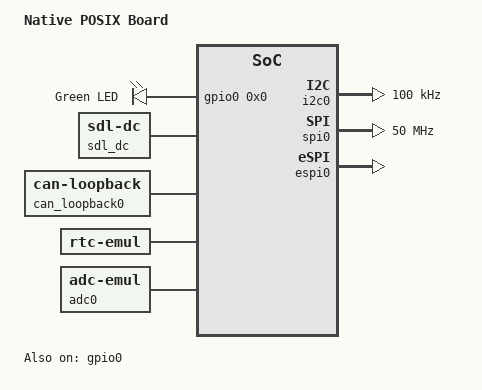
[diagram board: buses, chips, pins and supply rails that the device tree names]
/dts-v1/;

/ {
	#address-cells = < 0x1 >;
	#size-cells = < 0x1 >;
	model = "Native POSIX Board";
	compatible = "zephyr,posix";
	chosen {
		zephyr,console = &uart0;
		zephyr,shell-uart = &uart0;
		zephyr,uart-mcumgr = &uart0;
		zephyr,flash = &flash0;
		zephyr,entropy = &rng;
		zephyr,flash-controller = &flashcontroller0;
		zephyr,display = &sdl_dc;
		zephyr,canbus = &can_loopback0;
		zephyr,keyboard-scan = &kscan_input;
	};
	aliases {
		eeprom-0 = &eeprom0;
		i2c-0 = &i2c0;
		spi-0 = &spi0;
		led0 = &led0;
		kscan0 = &kscan_input;
		rtc = &rtc;
	};
	leds {
		compatible = "gpio-leds";
		led0: led_0 {
			gpios = < &gpio0 0x0 0x0 >;
			label = "Green LED";
		};
	};
	cpus {
		#address-cells = < 0x1 >;
		#size-cells = < 0x0 >;
		cpu0: cpu@0 {
			compatible = "zephyr,native-posix-cpu";
			reg = < 0x0 >;
		};
	};
	flashcontroller0: flash-controller@0 {
		compatible = "zephyr,sim-flash";
		reg = < 0x0 0x200000 >;
		#address-cells = < 0x1 >;
		#size-cells = < 0x1 >;
		erase-value = < 0xff >;
		flash0: flash@0 {
			status = "okay";
			compatible = "soc-nv-flash";
			erase-block-size = < 0x1000 >;
			write-block-size = < 0x1 >;
			reg = < 0x0 0x200000 >;
			partitions {
				compatible = "fixed-partitions";
				#address-cells = < 0x1 >;
				#size-cells = < 0x1 >;
				boot_partition: partition@0 {
					label = "mcuboot";
					reg = < 0x0 0xc000 >;
				};
				slot0_partition: partition@c000 {
					label = "image-0";
					reg = < 0xc000 0x69000 >;
				};
				slot1_partition: partition@75000 {
					label = "image-1";
					reg = < 0x75000 0x69000 >;
				};
				scratch_partition: partition@de000 {
					label = "image-scratch";
					reg = < 0xde000 0x1e000 >;
				};
				storage_partition: partition@fc000 {
					label = "storage";
					reg = < 0xfc000 0x4000 >;
				};
			};
		};
	};
	eeprom0: eeprom {
		status = "okay";
		compatible = "zephyr,sim-eeprom";
		size = < 0x8000 >;
	};
	i2c0: i2c@100 {
		status = "okay";
		compatible = "zephyr,i2c-emul-controller";
		clock-frequency = < 0x186a0 >;
		#address-cells = < 0x1 >;
		#size-cells = < 0x0 >;
		reg = < 0x100 0x4 >;
	};
	spi0: spi@200 {
		status = "okay";
		compatible = "zephyr,spi-emul-controller";
		clock-frequency = < 0x2faf080 >;
		#address-cells = < 0x1 >;
		#size-cells = < 0x0 >;
		reg = < 0x200 0x4 >;
	};
	espi0: espi@300 {
		status = "okay";
		compatible = "zephyr,espi-emul-controller";
		reg = < 0x300 0x4 >;
		#address-cells = < 0x1 >;
		#size-cells = < 0x0 >;
	};
	uart0: uart {
		status = "okay";
		compatible = "zephyr,native-posix-uart";
		current-speed = < 0x0 >;
	};
	uart1: uart_1 {
		status = "okay";
		compatible = "zephyr,native-posix-uart";
		current-speed = < 0x0 >;
	};
	rng: rng {
		status = "okay";
		compatible = "zephyr,native-posix-rng";
	};
	counter0: counter {
		status = "okay";
		compatible = "zephyr,native-posix-counter";
	};
	gpio0: gpio@800 {
		status = "okay";
		compatible = "zephyr,gpio-emul";
		reg = < 0x800 0x4 >;
		rising-edge;
		falling-edge;
		high-level;
		low-level;
		gpio-controller;
		#gpio-cells = < 0x2 >;
		phandle = < 0x1 >;
	};
	zephyr_udc0: udc0 {
		compatible = "zephyr,native-posix-udc";
	};
	sdl_dc: sdl_dc {
		compatible = "zephyr,sdl-dc";
		height = < 0xf0 >;
		width = < 0x140 >;
	};
	input-sdl-touch {
		compatible = "zephyr,input-sdl-touch";
		kscan_input: kscan-input {
			compatible = "zephyr,kscan-input";
		};
	};
	can_loopback0: can_loopback0 {
		status = "okay";
		compatible = "zephyr,can-loopback";
		sjw = < 0x1 >;
		sample-point = < 0x36b >;
		bus-speed = < 0x1e848 >;
	};
	can0: can {
		status = "disabled";
		compatible = "zephyr,native-posix-linux-can";
		host-interface = "zcan0";
		sjw = < 0x1 >;
		sample-point = < 0x36b >;
		bus-speed = < 0x1e848 >;
	};
	rtc: rtc {
		status = "okay";
		compatible = "zephyr,rtc-emul";
		alarms-count = < 0x2 >;
	};
	adc0: adc {
		compatible = "zephyr,adc-emul";
		nchannels = < 0x2 >;
		#io-channel-cells = < 0x1 >;
		status = "okay";
	};
};
